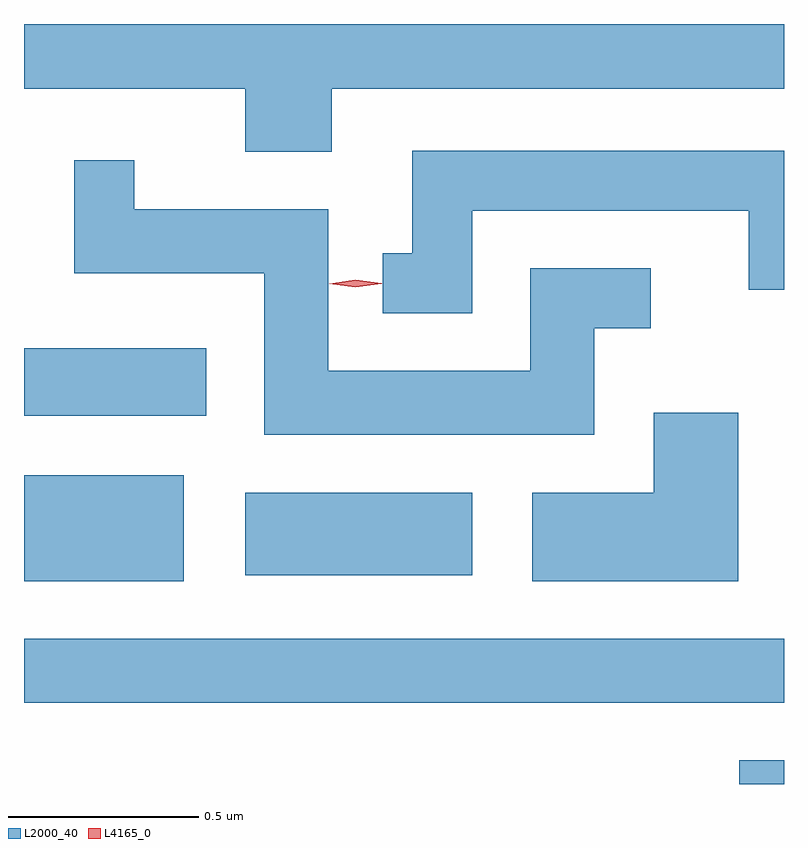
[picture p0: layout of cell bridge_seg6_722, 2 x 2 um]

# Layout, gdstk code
import gdstk
lib = gdstk.Library(unit=1e-6, precision=1e-09)
def R(c, l, rs):  # rectangles x0, y0, x1, y1
    for r in rs: c.add(gdstk.rectangle(r[:2], r[2:], *l))
def P(c, l, *ps):  # polygons
    for p in ps: c.add(gdstk.Polygon(p, *l))
L2000_40 = (2000, 40)
L4165_0 = (4165, 0)

bridge_seg6_722 = lib.new_cell('bridge_seg6_722')
R(bridge_seg6_722, L2000_40, [(310.161,1552.647,310.279,1552.709), (308.279,1552.861,310.279,1553.029), (308.279,1553.181,308.699,1553.459), (308.861,1553.196,309.459,1553.414), (308.279,1553.616,308.759,1553.794)])
P(bridge_seg6_722, L2000_40, [(309.089,1554.476),(310.279,1554.476),(310.279,1554.647),(308.279,1554.647),(308.279,1554.476),(308.861,1554.476),(308.861,1554.311),(309.089,1554.311)],
  [(309.459,1554.156),(310.186,1554.156),(310.186,1553.948),(310.279,1553.948),(310.279,1554.314),(309.301,1554.314),(309.301,1554.044),(309.223,1554.044),(309.223,1553.886),(309.459,1553.886)],
  [(309.779,1553.846),(309.928,1553.846),(309.928,1554.004),(309.611,1554.004),(309.611,1553.734),(309.079,1553.734),(309.079,1554.159),(308.569,1554.159),(308.569,1554.288),(308.411,1554.288),(308.411,1553.991),(308.911,1553.991),(308.911,1553.566),(309.779,1553.566)],
  [(310.159,1553.624),(309.936,1553.624),(309.936,1553.414),(309.616,1553.414),(309.616,1553.181),(310.159,1553.181)])
P(bridge_seg6_722, L4165_0, [(309.151,1553.954),(309.082,1553.964),(309.082,1553.964),(309.082,1553.964),(309.151,1553.974),(309.221,1553.965),(309.221,1553.965),(309.221,1553.964)])

lib.write_gds('bridge_seg6_722.gds')
